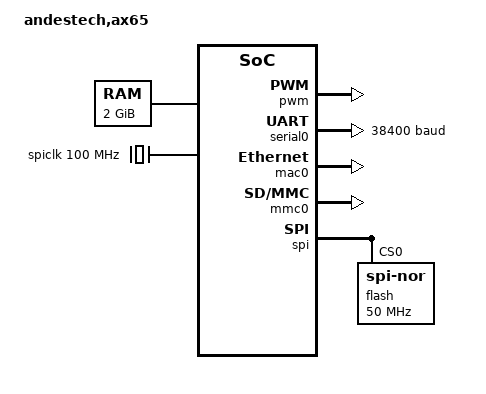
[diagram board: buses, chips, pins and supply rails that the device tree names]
/dts-v1/;

/ {
	#address-cells = <2>;
	#size-cells = <2>;
	compatible = "andestech,ae350";
	model = "andestech,ax65";
	serial-number = "522b696bd";
	aliases {
		uart0 = &serial0;
		spi0 = &spi;
	};

	chosen {
		bootargs = "console=ttyS0,38400n8 debug loglevel=7 earlycon=sbi";
		stdout-path = "uart0:38400n8";
		opensbi-domains {
			compatible = "opensbi,domain,config";
			system-suspend-test;

			tmem: tmem {
				compatible = "opensbi,domain,memregion";
				base = <0x00 0x10000000>;
				order = <24>;
			};

			allmem: allmem {
				compatible = "opensbi,domain,memregion";
				base = <0x00 0x00>;
				order = <64>;
			};

			tdomain: trusted-domain {
				compatible = "opensbi,domain,instance";
				possible-harts = <&CPU0 &CPU1>;
				//   (E|SUX|SUW| SUR|MX|MW|MR)
				regions = <&allmem 0x38>;
				boot-hart = <&CPU0>;
				//next-arg1 = <0x00 0x0187de58>; // dtb : FW_JUMP   : 0x02200000,
							       //       FW_DYNAMIC: use $a1 given by SPL
				next-addr = <0x00 0x10000000>; // tee.bin
				next-mode = <0x01>;
			};

			udomain: untrusted-domain {
				compatible = "opensbi,domain,instance";
				possible-harts = <&CPU0 &CPU1>;
				//   (E|SUX|SUW| SUR|MX|MW|MR)
				regions = <&tmem 0x0 &allmem 0x3f>;
				boot-hart = <&CPU0>;
				//next-arg1 = <0x00 0x0187de58>; // dtb : FW_JUMP   : 0x2200000,
							       //       FW_DYNAMIC: 0x0187de58
				next-addr = <0x00 0x01800000>; // u-boot
				next-mode = <0x01>;
			};
		};
	};
	cpus {
		#address-cells = <1>;
		#size-cells = <0>;
		timebase-frequency = <60000000>;
		CPU0: cpu@0 {
			device_type = "cpu";
			reg = <0>;
			status = "okay";
			compatible = "riscv";
			opensbi-domain = <&tdomain>;
			riscv,isa = "rv64imafdc_zba_zbb_zbc_zbkb_zbkc_zbkx_zbs_zicbom_zkn_zknd_zkne_zknh_zks_zksed_zksh_zkt_sscofpmf_svinval_svnapot_svpbmt_xandes";
			riscv,priv-major = <1>;
			riscv,priv-minor = <10>;
			riscv,cbom-block-size = <64>;
			mmu-type = "riscv,sv48";
			clock-frequency = <60000000>;
			i-cache-size = <0x10000>;
			i-cache-sets = <256>;
			i-cache-line-size = <64>;
			i-cache-block-size = <64>;
			d-cache-size = <0x10000>;
			d-cache-sets = <256>;
			d-cache-line-size = <64>;
			d-cache-block-size = <64>;
			next-level-cache = <&L2>;
			CPU0_intc: interrupt-controller {
				#interrupt-cells = <1>;
				interrupt-controller;
				compatible = "riscv,cpu-intc";
			};
		};
		CPU1: cpu@1 {
			device_type = "cpu";
			reg = <1>;
			status = "okay";
			compatible = "riscv";
			opensbi-domain = <&tdomain>;
			riscv,isa = "rv64imafdc_zba_zbb_zbc_zbkb_zbkc_zbkx_zbs_zicbom_zkn_zknd_zkne_zknh_zks_zksed_zksh_zkt_sscofpmf_svinval_svnapot_svpbmt_xandes";
			riscv,priv-major = <1>;
			riscv,priv-minor = <10>;
			riscv,cbom-block-size = <64>;
			mmu-type = "riscv,sv48";
			clock-frequency = <60000000>;
			i-cache-size = <0x10000>;
			i-cache-sets = <256>;
			i-cache-line-size = <64>;
			i-cache-block-size = <64>;
			d-cache-size = <0x10000>;
			d-cache-sets = <256>;
			d-cache-line-size = <64>;
			d-cache-block-size = <64>;
			next-level-cache = <&L2>;
			CPU1_intc: interrupt-controller {
				#interrupt-cells = <1>;
				interrupt-controller;
				compatible = "riscv,cpu-intc";
			};
		};
	};
	L2: l2-cache@e0500000 {
		compatible = "cache";
		cache-level = <2>;
		cache-size = <0x200000>;
		reg = <0x00000000 0xe0500000 0x00000000 0x00010000>;
		andes,inst-prefetch = <3>;
		andes,data-prefetch = <3>;
		// The value format is <XRAMOCTL XRAMICTL>
		andes,tag-ram-ctl = <0 0>;
		andes,data-ram-ctl = <0 0>;
	};
	memory@0 {
		reg = <0x00000000 0x00000000 0x00000000 0x80000000>;
		device_type = "memory";
	};
	soc {
		#address-cells = <2>;
		#size-cells = <2>;
		compatible = "andestech,riscv-ae350-soc", "simple-bus";
		ranges;
		sbi-rpxy-tee {
			opensbi-rpxy-tee-name = "linaro,optee";
			opensbi-domain-instance = <&tdomain>;
			compatible = "riscv,sbi-rpxy-tee";
		};
		plic0: interrupt-controller@e4000000 {
			compatible = "riscv,plic0";
			reg = <0x00000000 0xe4000000 0x00000000 0x02000000>;
			interrupts-extended = < &CPU0_intc 11 &CPU0_intc 9 &CPU1_intc 11 &CPU1_intc 9>;
			interrupt-controller;
			#address-cells = <2>;
			#interrupt-cells = <2>;
			riscv,ndev = <71>;
		};
		plic1: interrupt-controller@e6400000 {
			compatible = "andestech,plicsw";
			reg = <0x00000000 0xe6400000 0x00000000 0x00400000>;
			interrupts-extended = < &CPU0_intc 3 &CPU1_intc 3>;
			interrupt-controller;
			#address-cells = <2>;
			#interrupt-cells = <2>;
			riscv,ndev = <2>;
		};
		plmt0: plmt0@e6000000 {
			compatible = "andestech,plmt0";
			reg = <0x00000000 0xe6000000 0x00000000 0x00100000>;
			interrupts-extended = < &CPU0_intc 7 &CPU1_intc 7>;
		};
		spiclk: virt_100mhz {
			compatible = "fixed-clock";
			#clock-cells = <0>;
			clock-frequency = <100000000>;
		};
		timer0: timer@f0400000 {
			compatible = "andestech,atcpit100";
			reg = <0x00000000 0xf0400000 0x00000000 0x00001000>;
			interrupts = <3 4>;
			interrupt-parent = <&plic0>;
			clock-frequency = <60000000>;
		};
		pwm: pwm@f0400000 {
			compatible = "andestech,atcpit100-pwm";
			reg = <0x00000000 0xf0400000 0x00000000 0x00001000>;
			interrupts = <3 4>;
			interrupt-parent = <&plic0>;
			clock-frequency = <60000000>;
			pwm-cells = <2>;
		};
		wdt: wdt@f0500000 {
			compatible = "andestech,atcwdt200";
			reg = <0x00000000 0xf0500000 0x00000000 0x00001000>;
			interrupts = <3 4>;
			interrupt-parent = <&plic0>;
			clock-frequency = <60000000>;
		};
		serial0: serial@f0300000 {
			compatible = "andestech,uart16550", "ns16550a";
			reg = <0x00000000 0xf0300000 0x00000000 0x00001000>;
			interrupts = <9 4>;
			interrupt-parent = <&plic0>;
			clock-frequency = <19660800>;
			current-speed = <38400>;
			reg-shift = <2>;
			reg-offset = <32>;
			reg-io-width = <4>;
			no-loopback-test = <1>;
		};
		rtc0: rtc@f0600000 {
			compatible = "andestech,atcrtc100";
			reg = <0x00000000 0xf0600000 0x00000000 0x00001000>;
			interrupts = <1 4 2 4>;
			interrupt-parent = <&plic0>;
			wakeup-source;
		};
		gpio: gpio@f0700000 {
			compatible = "andestech,atcgpio100";
			reg = <0x00000000 0xf0700000 0x00000000 0x00001000>;
			interrupts = <7 4>;
			interrupt-parent = <&plic0>;
			wakeup-source;
		};
		mac0: mac@e0100000 {
			compatible = "andestech,atmac100";
			reg = <0x00000000 0xe0100000 0x00000000 0x00001000>;
			interrupts = <19 4>;
			interrupt-parent = <&plic0>;
			dma-coherent;
		};
		mmc0: mmc@f0e00000 {
			compatible = "andestech,atfsdc010g";
			reg = <0x00000000 0xf0e00000 0x00000000 0x00001000>;
			interrupts = <18 4>;
			interrupt-parent = <&plic0>;
			clock-freq-min-max = <400000 100000000>;
			max-frequency = <100000000>;
			fifo-depth = <16>;
			dmas = <&dma0 9>;
			dma-names = "rxtx";
			dma-coherent;
		};
		dma0: dma@f0c00000 {
			compatible = "andestech,atcdmac300g";
			reg = <0x00000000 0xf0c00000 0x00000000 0x00001000>;
			interrupts = <10 4>;
			interrupt-parent = <&plic0>;
			dma-channels = <8>;
			#dma-cells = <1>;
			dma-coherent;
		};
		spi: spi@f0b00000 {
			compatible = "andestech,atcspi200";
			reg = <0x00000000 0xf0b00000 0x00000000 0x00001000>;
			interrupts = <4 4>;
			interrupt-parent = <&plic0>;
			#address-cells = <1>;
			#size-cells = <0>;
			num-cs = <1>;
			clocks = <&spiclk>;
			flash@0 {
				compatible = "jedec,spi-nor";
				reg = <0x00000000>;
				spi-max-frequency = <50000000>;
				spi-cpol;
				spi-cpha;
			};
		};
		es100: es100@f0900000 {
			compatible = "andestech,es100";
			reg = <0x00000000 0xf0900000 0x00000000 0x00001000>;
		};
	};
};
